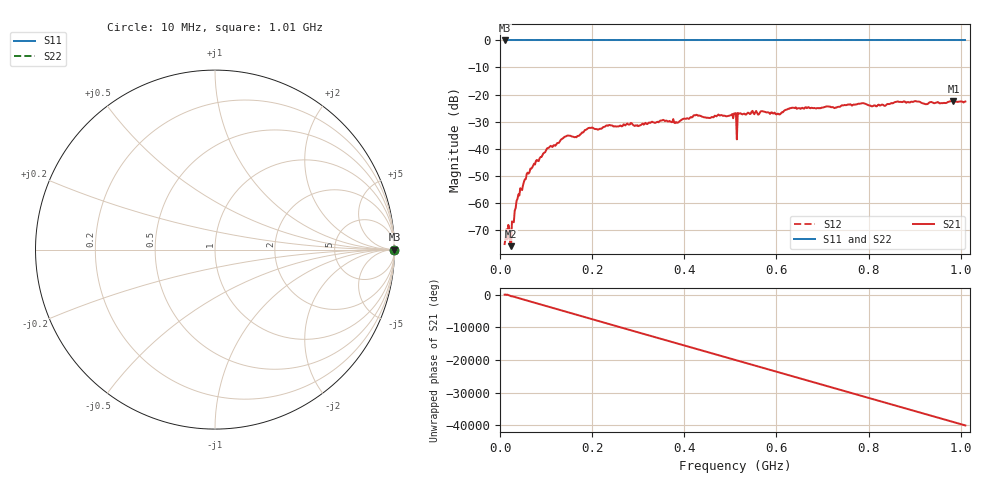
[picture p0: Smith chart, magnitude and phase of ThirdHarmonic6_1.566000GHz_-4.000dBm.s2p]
! 8/16/2025 6:36:38 PM
! C:\ANRITSUVNA\TEMP\TEMP.S2P
! CHANNEL.1
! TR.MEASUREMENT
! RAW.DATA
! RF.CORRECTION.OFF
! AVERAGING.OFF
! IF.BANDWIDTH: 5KHZ
! SWEEPTYPE:  FREQ.SWEEP(Linear)
! Reference Plane Port Info
! PORT:  PORT1  PORT2
! DISTANCE:  0  m  0  m
! TIME:  0  s  0  s
! PHASE.OFFSET:  0  deg.  0  deg.
! LOSS:  0  dB  0  dB
! REF.LOSS:  0  dB  0  dB
! REF.FREQ:  0  Hz  0  Hz
! Power Info
! POWER:  -20  dBm  -20  dBm
! EFF.POWER:  -20  dBm  -20  dBm
! SOURCE.ATTEN:  0  dB  0  dB
! TEST.ATTEN:  0  dB  0  dB
# GHZ S RI R 50.0
! FREQ.GHZ  S11RE  S11IM  S21RE  S21IM  S12RE  S12IM  S22RE  S22IM
!; PortSelection: Port_12
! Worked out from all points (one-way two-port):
!   501 points, 10 MHz to 1.01 GHz, reference 50 ohm
!   highest |S21| = -22.40 dB at 984 MHz (marker M1); lowest = -76.1 dB at 24 MHz (marker M2)
!   lowest |S11| = 0.0 dB at 10 MHz (marker M3)
!   |S11| at or under -10 dB: nowhere
!   |S22| runs from 0.0 to 0.0 dB; largest |S21 - S12| = 1.1
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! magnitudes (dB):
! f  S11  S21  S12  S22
! 10 MHz  0.0  -75.3  0.0  0.0
! 16 MHz  0.0  -73.6  0.0  0.0
! 20 MHz  0.0  -69.4  0.0  0.0
! 24 MHz  0.0  -76.1  0.0  0.0
! 40 MHz  0.0  -56.9  0.0  0.0
! 56 MHz  0.0  -51.3  0.0  0.0
! 76 MHz  0.0  -45.9  0.0  0.0
! 140 MHz  0.0  -35.6  0.0  0.0
! 178 MHz  0.0  -34.1  0.0  0.0
! 196 MHz  0.0  -32.3  0.0  0.0
! 344 MHz  0.0  -30.3  0.0  0.0
! 384 MHz  0.0  -30.4  0.0  0.0
! 424 MHz  0.0  -27.7  0.0  0.0
! 508 MHz  0.0  -27.0  0.0  0.0
! 510 MHz  0.0  -27.0  0.0  0.0
! 518 MHz  0.0  -27.0  0.0  0.0
! 520 MHz  0.0  -27.0  0.0  0.0
! 604 MHz  0.0  -27.1  0.0  0.0
! 678 MHz  0.0  -25.0  0.0  0.0
! 844 MHz  0.0  -23.6  0.0  0.0
! 984 MHz  0.0  -22.4  0.0  0.0
! 1.01 GHz  0.0  -22.6  0.0  0.0
